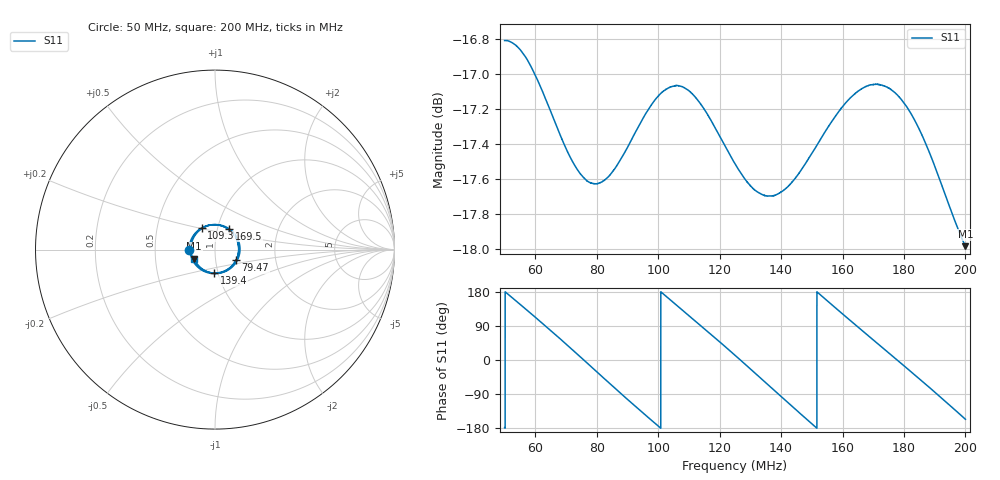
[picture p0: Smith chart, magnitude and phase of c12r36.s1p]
! COPPER MOUNTAIN TECHNOLOGIES, PLANAR TR1300/1, 00071119, 20.2.2/1.0
! Date: 12/11/2023 3:04:23 PM
! Data: Format [Calibration Info]
! Freq  S11: Re/Im F1
# HZ S RI R 50
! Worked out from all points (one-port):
!   12288 points, 50 MHz to 200 MHz, reference 50 ohm
!   lowest |S11| = -18.0 dB at 200 MHz (marker M1), VSWR 1.29, Z = 39.5 - j4.05 ohm
!   |S11| at or under -10 dB: start of sweep to end of sweep
!   S11 on the Smith chart (normalised r, x): 50 MHz: 0.75, -0.00; 79.47 MHz: 1.25, -0.15; 109.3 MHz: 0.84, +0.20; 139.4 MHz: 0.96, -0.25; 169.5 MHz: 1.14, +0.27; 200 MHz: 0.79, -0.08
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5e7  -0.1444 -0.00304
5.474892e7  -0.1229 0.0744
6.021812e7  -0.0511 0.1314
6.441768e7  0.0194 0.1369
6.875153e7  0.0849 0.1053
7.422072e7  0.1298 0.0262
7.947017e7  0.1169 -0.06
8.750305e7  0.00933 -0.1331
9.231301e7  -0.0688 -0.1171
9.777e7  -0.129 -0.0502
1.019574e8  -0.1385 0.0186
1.062546e8  -0.1118 0.0845
1.093066e8  -0.0742 0.1186
1.166314e8  0.0434 0.1302
1.250061e8  0.13 0.0288
1.313909e8  0.1091 -0.0723
1.394482e8  -0.00504 -0.1305
1.437576e8  -0.0726 -0.1098
1.485188e8  -0.1234 -0.0507
1.52877e8  -0.1338 0.0202
1.572963e8  -0.1058 0.0874
1.625092e8  -0.0345 0.1347
1.69541e8  0.0781 0.1165
1.75584e8  0.1351 0.0361
1.812607e8  0.1263 -0.0558
1.861439e8  0.0728 -0.1143
1.904899e8  0.0048 -0.1325
2e8  -0.1156 -0.0505
